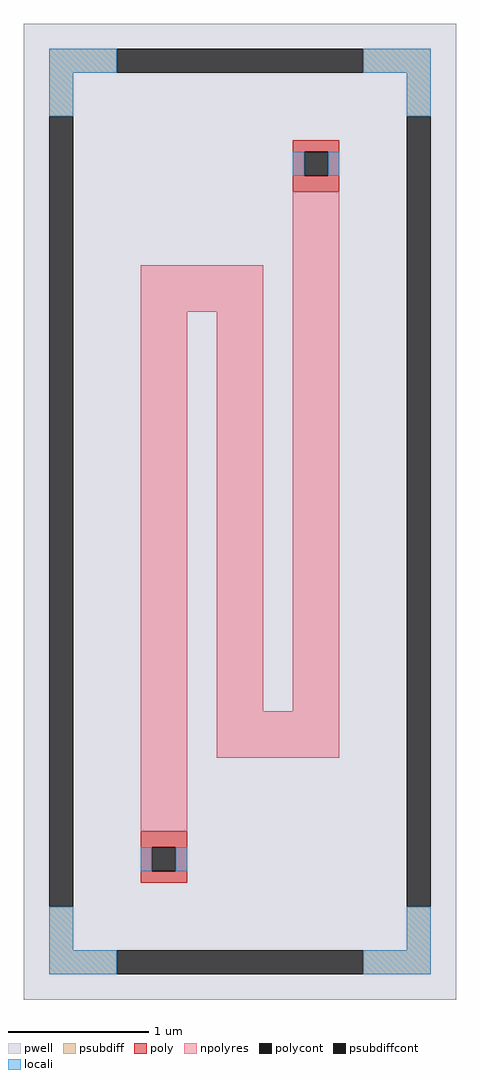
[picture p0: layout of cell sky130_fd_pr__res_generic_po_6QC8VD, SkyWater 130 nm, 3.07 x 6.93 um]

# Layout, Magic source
magic
tech sky130B
magscale 1 2
<< pwell >>
rect -307 -693 307 693
<< psubdiff >>
rect -271 623 -175 657
rect 175 623 271 657
rect -271 561 -237 623
rect 237 561 271 623
rect -271 -623 -237 -561
rect 237 -623 271 -561
rect -271 -657 -175 -623
rect 175 -657 271 -623
<< psubdiffcont >>
rect -175 623 175 657
rect -271 -561 -237 561
rect 237 -561 271 561
rect -175 -657 175 -623
<< poly >>
rect 75 511 141 527
rect 75 477 91 511
rect 125 477 141 511
rect 75 454 141 477
rect -141 -477 -75 -454
rect -141 -511 -125 -477
rect -91 -511 -75 -477
rect -141 -527 -75 -511
<< polycont >>
rect 91 477 125 511
rect -125 -511 -91 -477
<< npolyres >>
rect -141 284 33 350
rect -141 -454 -75 284
rect -33 -284 33 284
rect 75 -284 141 454
rect -33 -350 141 -284
<< locali >>
rect -271 623 -175 657
rect 175 623 271 657
rect -271 561 -237 623
rect 237 561 271 623
rect 75 477 91 511
rect 125 477 141 511
rect -141 -511 -125 -477
rect -91 -511 -75 -477
rect -271 -623 -237 -561
rect 237 -623 271 -561
rect -271 -657 -175 -623
rect 175 -657 271 -623
<< properties >>
string FIXED_BBOX -254 -640 254 640
string gencell sky130_fd_pr__res_generic_po
string library sky130
string parameters w 0.33 l 3.5 m 1 nx 3 wmin 0.330 lmin 1.650 rho 48.2 val 1.746k dummy 0 dw 0.0 term 0.0 sterm 0.0 caplen 0.4 snake 1 guard 1 glc 1 grc 1 gtc 1 gbc 1 roverlap 0 endcov 100 full_metal 1 hv_guard 0 n_guard 0 vias 1 viagb 0 viagt 0 viagl 0 viagr 0
<< end >>
